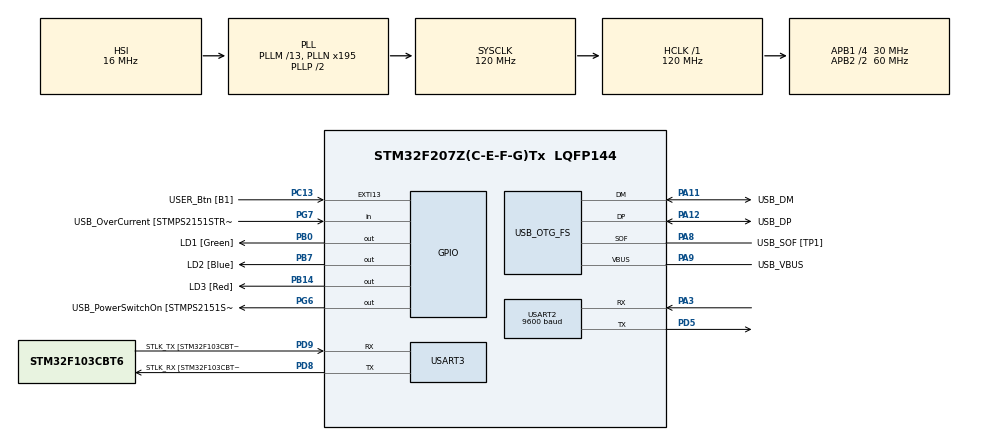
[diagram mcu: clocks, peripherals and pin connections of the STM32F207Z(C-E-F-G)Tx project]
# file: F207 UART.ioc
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Mcu.Family=STM32F2
Mcu.Name=STM32F207Z(C-E-F-G)Tx
Mcu.Package=LQFP144
NVIC.PriorityGroup=NVIC_PRIORITYGROUP_4
NVIC.USART2_IRQn=true\:0\:0\:false\:false\:true\:true\:true
PA1.GPIO_Label=RMII_REF_CLK [LAN8742A-CZ-TR_REFCLK0]
PA1.Signal=ETH_REF_CLK
PA10.GPIO_Label=USB_ID
PA10.Signal=USB_OTG_FS_ID
PA11.GPIO_Label=USB_DM
PA11.Mode=Device_Only
PA11.Signal=USB_OTG_FS_DM
PA12.GPIO_Label=USB_DP
PA12.Mode=Device_Only
PA12.Signal=USB_OTG_FS_DP
PA13.GPIO_Label=TMS
PA13.Mode=Serial_Wire
PA13.Signal=SYS_JTMS-SWDIO
PA14.GPIO_Label=TCK
PA14.Mode=Serial_Wire
PA14.Signal=SYS_JTCK-SWCLK
PA2.GPIO_Label=RMII_MDIO [LAN8742A-CZ-TR_MDIO]
PA2.Signal=ETH_MDIO
PA3.Mode=Asynchronous
PA3.Signal=USART2_RX
PA7.GPIO_Label=RMII_CRS_DV [LAN8742A-CZ-TR_CRS_DV]
PA7.Signal=ETH_CRS_DV
PA8.GPIO_Label=USB_SOF [TP1]
PA8.Mode=Activate_SOF_FS
PA8.Signal=USB_OTG_FS_SOF
PA9.GPIO_Label=USB_VBUS
PA9.Mode=Activate_VBUS
PA9.Signal=USB_OTG_FS_VBUS
PB0.GPIO_Label=LD1 [Green]
PB0.Signal=GPIO_Output
PB13.GPIO_Label=RMII_TXD1 [LAN8742A-CZ-TR_TXD1]
PB13.Signal=ETH_TXD1
PB14.GPIO_Label=LD3 [Red]
PB14.Signal=GPIO_Output
PB3.GPIO_Label=SWO
PB3.Signal=SYS_JTDO-SWO
PB7.GPIO_Label=LD2 [Blue]
PB7.Signal=GPIO_Output
PC1.GPIO_Label=RMII_MDC [LAN8742A-CZ-TR_MDC]
PC1.Signal=ETH_MDC
PC13.GPIO_Label=USER_Btn [B1]
PC13.Signal=GPXTI13
PC14-OSC32_IN.Mode=LSE-External-Oscillator
PC14-OSC32_IN.Signal=RCC_OSC32_IN
PC15-OSC32_OUT.Mode=LSE-External-Oscillator
PC15-OSC32_OUT.Signal=RCC_OSC32_OUT
PC4.GPIO_Label=RMII_RXD0 [LAN8742A-CZ-TR_RXD0]
PC4.Signal=ETH_RXD0
PC5.GPIO_Label=RMII_RXD1 [LAN8742A-CZ-TR_RXD1]
PC5.Signal=ETH_RXD1
PD5.Mode=Asynchronous
PD5.Signal=USART2_TX
PD8.GPIO_Label=STLK_RX [STM32F103CBT6_PA3]
PD8.Mode=Asynchronous
PD8.Signal=USART3_TX
PD9.GPIO_Label=STLK_TX [STM32F103CBT6_PA2]
PD9.Mode=Asynchronous
PD9.Signal=USART3_RX
PG11.GPIO_Label=RMII_TX_EN [LAN8742A-CZ-TR_TXEN]
PG11.Signal=ETH_TX_EN
PG13.GPIO_Label=RMII_TXD0 [LAN8742A-CZ-TR_TXD0]
PG13.Signal=ETH_TXD0
PG6.GPIO_Label=USB_PowerSwitchOn [STMPS2151STR_EN]
PG6.Signal=GPIO_Output
PG7.GPIO_Label=USB_OverCurrent [STMPS2151STR_FAULT]
PG7.Signal=GPIO_Input
PH0-OSC_IN.GPIO_Label=MCO [STM32F103CBT6_PA8]
PH0-OSC_IN.Mode=HSE-External-Clock-Source
PH0-OSC_IN.Signal=RCC_OSC_IN
PH1-OSC_OUT.Mode=HSE-External-Clock-Source
PH1-OSC_OUT.Signal=RCC_OSC_OUT
ProjectManager.HeapSize=0x200
ProjectManager.StackSize=0x400
ProjectManager.TargetToolchain=STM32CubeIDE
RCC.48MHZClocksFreq_Value=48000000
RCC.AHBFreq_Value=120000000
RCC.APB1CLKDivider=RCC_HCLK_DIV4
RCC.APB1Freq_Value=30000000
RCC.APB1TimFreq_Value=60000000
RCC.APB2CLKDivider=RCC_HCLK_DIV2
RCC.APB2Freq_Value=60000000
RCC.APB2TimFreq_Value=120000000
RCC.CortexFreq_Value=120000000
RCC.HCLKFreq_Value=120000000
RCC.HSE_VALUE=8000000
RCC.HSI_VALUE=16000000
RCC.PLLM=13
RCC.PLLMUL=RCC_PLL_MUL9
RCC.PLLN=195
RCC.PLLQ=5
RCC.PRESCALERUSB=RCC_USBCLKSOURCE_PLL_DIV1_5
RCC.SYSCLKFreq_VALUE=120000000
RCC.SYSCLKSource=RCC_SYSCLKSOURCE_PLLCLK
RCC.SYSCLKSourceVirtual=RCC_SYSCLKSOURCE_PLLCLK
RCC.USBFreq_Value=48000000
RCC.VCOOutputFreq_Value=240000000
USART2.BaudRate=9600
USART2.VirtualMode=VM_ASYNC
USART3.VirtualMode=VM_ASYNC
USB_OTG_FS.VirtualMode=Device_Only
board=NUCLEO-F207ZG

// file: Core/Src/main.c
/* USER CODE BEGIN Header */
/**
 ******************************************************************************
 * @file           : main.c
 * @brief          : Main program body
 ******************************************************************************
 * @attention
 *
 * <h2><center>&copy; Copyright (c) 2021 STMicroelectronics.
 * All rights reserved.</center></h2>
 *
 * This software component is licensed by ST under BSD 3-Clause license,
 * the "License"; You may not use this file except in compliance with the
 * License. You may obtain a copy of the License at:
 *                        opensource.org/licenses/BSD-3-Clause
 *
 ******************************************************************************
 */
/* USER CODE END Header */
#include "main.h"

UART_HandleTypeDef huart2;
UART_HandleTypeDef huart3;

PCD_HandleTypeDef hpcd_USB_OTG_FS;

/* USER CODE BEGIN PV */
uint8_t str[] = "Hello World!\n\r";
uint8_t received2 = '\0';
uint8_t received3 = '\0';
HAL_StatusTypeDef rcvStat2;
HAL_StatusTypeDef rcvStat3;
/* USER CODE END PV */

void SystemClock_Config(void);
static void MX_GPIO_Init(void);
static void MX_USART3_UART_Init(void);
static void MX_USB_OTG_FS_PCD_Init(void);
static void MX_USART2_UART_Init(void);

int main(void)
{

	/* MCU Configuration--------------------------------------------------------*/

	/* Reset of all peripherals, Initializes the Flash interface and the Systick. */
	HAL_Init();

	/* Configure the system clock */
	SystemClock_Config();

	/* Initialize all configured peripherals */
	MX_GPIO_Init();
	MX_USART3_UART_Init();
	MX_USB_OTG_FS_PCD_Init();
	MX_USART2_UART_Init();

	/* Infinite loop */
	/* USER CODE BEGIN WHILE */
	while (1)
	{
		// TX
		rcvStat3 = HAL_UART_Receive(&huart3, &received3, 1, 10);
		if (rcvStat3 == HAL_OK)
		{
			HAL_UART_Transmit(&huart3, "TX UART3 : ", 11, 1000);
			HAL_UART_Transmit(&huart3, &received3, 1, 1000);
			HAL_UART_Transmit(&huart3, "\r\n\r\n", 4, 1000);

			HAL_UART_Transmit(&huart2, &received3, 1, 1000);
		}

		// RX
		rcvStat2 = HAL_UART_Receive(&huart2, &received2, 1, 10);
		if (rcvStat2 == HAL_OK)
		{
			HAL_UART_Transmit(&huart3, "RX UART2 : ", 11, 1000);
			HAL_UART_Transmit(&huart3, &received2, 1, 1000);
			HAL_UART_Transmit(&huart3, "\r\n\r\n", 4, 1000);
		}
		/* USER CODE END WHILE */

	}
}

void SystemClock_Config(void)
{
	RCC_OscInitTypeDef RCC_OscInitStruct =
	{ 0 };
	RCC_ClkInitTypeDef RCC_ClkInitStruct =
	{ 0 };

	/** Initializes the RCC Oscillators according to the specified parameters
	 * in the RCC_OscInitTypeDef structure.
	 */
	RCC_OscInitStruct.OscillatorType = RCC_OSCILLATORTYPE_HSI;
	RCC_OscInitStruct.HSIState = RCC_HSI_ON;
	RCC_OscInitStruct.HSICalibrationValue = RCC_HSICALIBRATION_DEFAULT;
	RCC_OscInitStruct.PLL.PLLState = RCC_PLL_ON;
	RCC_OscInitStruct.PLL.PLLSource = RCC_PLLSOURCE_HSI;
	RCC_OscInitStruct.PLL.PLLM = 13;
	RCC_OscInitStruct.PLL.PLLN = 195;
	RCC_OscInitStruct.PLL.PLLP = RCC_PLLP_DIV2;
	RCC_OscInitStruct.PLL.PLLQ = 5;
	if (HAL_RCC_OscConfig(&RCC_OscInitStruct) != HAL_OK)
	{
		Error_Handler();
	}
	/** Initializes the CPU, AHB and APB buses clocks
	 */
	RCC_ClkInitStruct.ClockType = RCC_CLOCKTYPE_HCLK | RCC_CLOCKTYPE_SYSCLK
			| RCC_CLOCKTYPE_PCLK1 | RCC_CLOCKTYPE_PCLK2;
	RCC_ClkInitStruct.SYSCLKSource = RCC_SYSCLKSOURCE_PLLCLK;
	RCC_ClkInitStruct.AHBCLKDivider = RCC_SYSCLK_DIV1;
	RCC_ClkInitStruct.APB1CLKDivider = RCC_HCLK_DIV4;
	RCC_ClkInitStruct.APB2CLKDivider = RCC_HCLK_DIV2;

	if (HAL_RCC_ClockConfig(&RCC_ClkInitStruct, FLASH_LATENCY_3) != HAL_OK)
	{
		Error_Handler();
	}
}

static void MX_USART2_UART_Init(void)
{

	huart2.Instance = USART2;
	huart2.Init.BaudRate = 9600;
	huart2.Init.WordLength = UART_WORDLENGTH_8B;
	huart2.Init.StopBits = UART_STOPBITS_1;
	huart2.Init.Parity = UART_PARITY_NONE;
	huart2.Init.Mode = UART_MODE_TX_RX;
	huart2.Init.HwFlowCtl = UART_HWCONTROL_NONE;
	huart2.Init.OverSampling = UART_OVERSAMPLING_16;
	if (HAL_UART_Init(&huart2) != HAL_OK)
	{
		Error_Handler();
	}

}

static void MX_USART3_UART_Init(void)
{

	huart3.Instance = USART3;
	huart3.Init.BaudRate = 115200;
	huart3.Init.WordLength = UART_WORDLENGTH_8B;
	huart3.Init.StopBits = UART_STOPBITS_1;
	huart3.Init.Parity = UART_PARITY_NONE;
	huart3.Init.Mode = UART_MODE_TX_RX;
	huart3.Init.HwFlowCtl = UART_HWCONTROL_NONE;
	huart3.Init.OverSampling = UART_OVERSAMPLING_16;
	if (HAL_UART_Init(&huart3) != HAL_OK)
	{
		Error_Handler();
	}

}

static void MX_USB_OTG_FS_PCD_Init(void)
{

	hpcd_USB_OTG_FS.Instance = USB_OTG_FS;
	hpcd_USB_OTG_FS.Init.dev_endpoints = 4;
	hpcd_USB_OTG_FS.Init.speed = PCD_SPEED_FULL;
	hpcd_USB_OTG_FS.Init.dma_enable = DISABLE;
	hpcd_USB_OTG_FS.Init.phy_itface = PCD_PHY_EMBEDDED;
	hpcd_USB_OTG_FS.Init.Sof_enable = ENABLE;
	hpcd_USB_OTG_FS.Init.low_power_enable = DISABLE;
	hpcd_USB_OTG_FS.Init.vbus_sensing_enable = ENABLE;
	hpcd_USB_OTG_FS.Init.use_dedicated_ep1 = DISABLE;
	if (HAL_PCD_Init(&hpcd_USB_OTG_FS) != HAL_OK)
	{
		Error_Handler();
	}

}

static void MX_GPIO_Init(void)
{
	GPIO_InitTypeDef GPIO_InitStruct =
	{ 0 };

	/* GPIO Ports Clock Enable */
	__HAL_RCC_GPIOC_CLK_ENABLE();
	__HAL_RCC_GPIOH_CLK_ENABLE();
	__HAL_RCC_GPIOA_CLK_ENABLE();
	__HAL_RCC_GPIOB_CLK_ENABLE();
	__HAL_RCC_GPIOD_CLK_ENABLE();
	__HAL_RCC_GPIOG_CLK_ENABLE();

	/*Configure GPIO pin Output Level */
	HAL_GPIO_WritePin(GPIOB, LD1_Pin | LD3_Pin | LD2_Pin, GPIO_PIN_RESET);

	/*Configure GPIO pin Output Level */
	HAL_GPIO_WritePin(USB_PowerSwitchOn_GPIO_Port, USB_PowerSwitchOn_Pin,
			GPIO_PIN_RESET);

	/*Configure GPIO pin : USER_Btn_Pin */
	GPIO_InitStruct.Pin = USER_Btn_Pin;
	GPIO_InitStruct.Mode = GPIO_MODE_IT_RISING;
	GPIO_InitStruct.Pull = GPIO_NOPULL;
	HAL_GPIO_Init(USER_Btn_GPIO_Port, &GPIO_InitStruct);

	/*Configure GPIO pins : RMII_MDC_Pin RMII_RXD0_Pin RMII_RXD1_Pin */
	GPIO_InitStruct.Pin = RMII_MDC_Pin | RMII_RXD0_Pin | RMII_RXD1_Pin;
	GPIO_InitStruct.Mode = GPIO_MODE_AF_PP;
	GPIO_InitStruct.Pull = GPIO_NOPULL;
	GPIO_InitStruct.Speed = GPIO_SPEED_FREQ_VERY_HIGH;
	GPIO_InitStruct.Alternate = GPIO_AF11_ETH;
	HAL_GPIO_Init(GPIOC, &GPIO_InitStruct);

	/*Configure GPIO pins : RMII_REF_CLK_Pin RMII_MDIO_Pin RMII_CRS_DV_Pin */
	GPIO_InitStruct.Pin = RMII_REF_CLK_Pin | RMII_MDIO_Pin | RMII_CRS_DV_Pin;
	GPIO_InitStruct.Mode = GPIO_MODE_AF_PP;
	GPIO_InitStruct.Pull = GPIO_NOPULL;
	GPIO_InitStruct.Speed = GPIO_SPEED_FREQ_VERY_HIGH;
	GPIO_InitStruct.Alternate = GPIO_AF11_ETH;
	HAL_GPIO_Init(GPIOA, &GPIO_InitStruct);

	/*Configure GPIO pins : LD1_Pin LD3_Pin LD2_Pin */
	GPIO_InitStruct.Pin = LD1_Pin | LD3_Pin | LD2_Pin;
	GPIO_InitStruct.Mode = GPIO_MODE_OUTPUT_PP;
	GPIO_InitStruct.Pull = GPIO_NOPULL;
	GPIO_InitStruct.Speed = GPIO_SPEED_FREQ_LOW;
	HAL_GPIO_Init(GPIOB, &GPIO_InitStruct);

	/*Configure GPIO pin : RMII_TXD1_Pin */
	GPIO_InitStruct.Pin = RMII_TXD1_Pin;
	GPIO_InitStruct.Mode = GPIO_MODE_AF_PP;
	GPIO_InitStruct.Pull = GPIO_NOPULL;
	GPIO_InitStruct.Speed = GPIO_SPEED_FREQ_VERY_HIGH;
	GPIO_InitStruct.Alternate = GPIO_AF11_ETH;
	HAL_GPIO_Init(RMII_TXD1_GPIO_Port, &GPIO_InitStruct);

	/*Configure GPIO pin : USB_PowerSwitchOn_Pin */
	GPIO_InitStruct.Pin = USB_PowerSwitchOn_Pin;
	GPIO_InitStruct.Mode = GPIO_MODE_OUTPUT_PP;
	GPIO_InitStruct.Pull = GPIO_NOPULL;
	GPIO_InitStruct.Speed = GPIO_SPEED_FREQ_LOW;
	HAL_GPIO_Init(USB_PowerSwitchOn_GPIO_Port, &GPIO_InitStruct);

	/*Configure GPIO pin : USB_OverCurrent_Pin */
	GPIO_InitStruct.Pin = USB_OverCurrent_Pin;
	GPIO_InitStruct.Mode = GPIO_MODE_INPUT;
	GPIO_InitStruct.Pull = GPIO_NOPULL;
	HAL_GPIO_Init(USB_OverCurrent_GPIO_Port, &GPIO_InitStruct);

	/*Configure GPIO pins : RMII_TX_EN_Pin RMII_TXD0_Pin */
	GPIO_InitStruct.Pin = RMII_TX_EN_Pin | RMII_TXD0_Pin;
	GPIO_InitStruct.Mode = GPIO_MODE_AF_PP;
	GPIO_InitStruct.Pull = GPIO_NOPULL;
	GPIO_InitStruct.Speed = GPIO_SPEED_FREQ_VERY_HIGH;
	GPIO_InitStruct.Alternate = GPIO_AF11_ETH;
	HAL_GPIO_Init(GPIOG, &GPIO_InitStruct);

}

void Error_Handler(void)
{
	__disable_irq();
	while (1)
	{
	}
}

/************************ (C) COPYRIGHT STMicroelectronics *****END OF FILE****/
